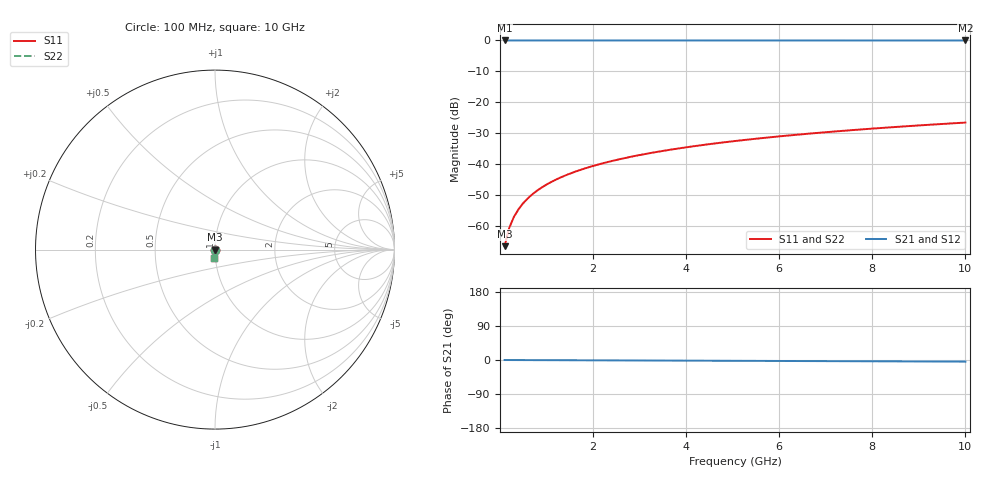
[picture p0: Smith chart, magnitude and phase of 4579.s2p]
# Hz S RI R 50.00
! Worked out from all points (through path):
!   100 points, 100 MHz to 10 GHz, reference 50 ohm
!   highest |S21| = 0.00 dB at 100 MHz (marker M1); lowest = 0.0 dB at 10 GHz (marker M2)
!   lowest |S11| = -66.6 dB at 100 MHz (marker M3), VSWR 1.00, Z = 50 - j0.0463 ohm
!   |S11| at or under -10 dB: start of sweep to end of sweep
!   |S22| runs from -66.6 to -26.6 dB; largest |S21 - S12| = 0
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1e8  5.12e-05 -0.000463  0.9999 -0.00074  0.9999 -0.00074  5.12e-05 -0.000463
2e8  4.99e-05 -0.000926  0.9999 -0.00148  0.9999 -0.00148  4.99e-05 -0.000926
3e8  4.79e-05 -0.00139  0.9999 -0.00222  0.9999 -0.00222  4.79e-05 -0.00139
4e8  4.51e-05 -0.00185  0.9999 -0.00296  0.9999 -0.00296  4.51e-05 -0.00185
5e8  4.17e-05 -0.00232  0.9999 -0.0037  0.9999 -0.0037  4.17e-05 -0.00232
6e8  3.75e-05 -0.00278  0.9999 -0.00444  0.9999 -0.00444  3.75e-05 -0.00278
7e8  3.26e-05 -0.00324  0.9999 -0.00518  0.9999 -0.00518  3.26e-05 -0.00324
8e8  2.7e-05 -0.00371  0.9999 -0.00592  0.9999 -0.00592  2.7e-05 -0.00371
9e8  2.07e-05 -0.00417  0.9999 -0.00666  0.9999 -0.00666  2.07e-05 -0.00417
1.1e9  6.1e-06 -0.0051  0.9999 -0.00814  0.9999 -0.00814  6.1e-06 -0.0051
1.4e9  -2.11e-05 -0.00649  0.9999 -0.0104  0.9999 -0.0104  -2.11e-05 -0.00649
1.8e9  -6.7e-05 -0.00834  0.9998 -0.0133  0.9998 -0.0133  -6.7e-05 -0.00834
2.1e9  -0.000109 -0.00974  0.9998 -0.0156  0.9998 -0.0156  -0.000109 -0.00974
2.5e9  -0.000174 -0.0116  0.9997 -0.0185  0.9997 -0.0185  -0.000174 -0.0116
2.9e9  -0.000251 -0.0135  0.9996 -0.0215  0.9996 -0.0215  -0.000251 -0.0135
3.4e9  -0.000362 -0.0158  0.9995 -0.0252  0.9995 -0.0252  -0.000362 -0.0158
4.2e9  -0.000576 -0.0195  0.9992 -0.0312  0.9992 -0.0312  -0.000576 -0.0195
5.1e9  -0.000871 -0.0237  0.9989 -0.0379  0.9989 -0.0379  -0.000871 -0.0237
5.9e9  -0.00118 -0.0274  0.9986 -0.0439  0.9986 -0.0439  -0.00118 -0.0274
6.7e9  -0.00154 -0.0312  0.9982 -0.0498  0.9982 -0.0498  -0.00154 -0.0312
8.4e9  -0.00244 -0.0391  0.9972 -0.0626  0.9972 -0.0626  -0.00244 -0.0391
1e10  -0.00349 -0.0466  0.996 -0.0746  0.996 -0.0746  -0.00349 -0.0466
